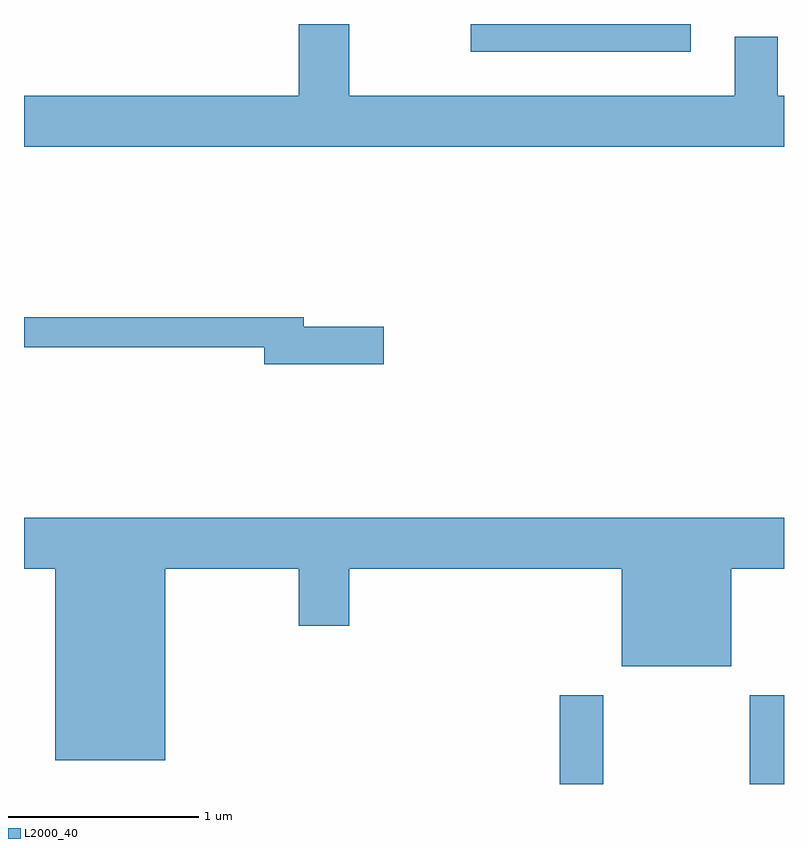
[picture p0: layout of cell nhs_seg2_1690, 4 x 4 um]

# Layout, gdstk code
import gdstk
lib = gdstk.Library(unit=1e-6, precision=1e-09)
def R(c, l, rs):  # rectangles x0, y0, x1, y1
    for r in rs: c.add(gdstk.rectangle(r[:2], r[2:], *l))
def P(c, l, *ps):  # polygons
    for p in ps: c.add(gdstk.Polygon(p, *l))
L2000_40 = (2000, 40)

nhs_seg2_1690 = lib.new_cell('nhs_seg2_1690')
R(nhs_seg2_1690, L2000_40, [(236.431,1093.802,236.659,1094.269), (237.431,1093.802,237.611,1094.269), (235.963,1097.656,237.119,1097.802)])
P(nhs_seg2_1690, L2000_40, [(237.611,1097.424),(237.579,1097.424),(237.579,1097.734),(237.351,1097.734),(237.351,1097.424),(235.324,1097.424),(235.324,1097.802),(235.056,1097.802),(235.056,1097.424),(233.611,1097.424),(233.611,1097.156),(237.611,1097.156)],
  [(235.504,1096.209),(235.084,1096.209),(235.084,1096.259),(233.611,1096.259),(233.611,1096.101),(234.876,1096.101),(234.876,1096.011),(235.504,1096.011)],
  [(234.354,1094.936),(235.056,1094.936),(235.056,1094.636),(235.324,1094.636),(235.324,1094.936),(236.756,1094.936),(236.756,1094.421),(237.334,1094.421),(237.334,1094.936),(237.611,1094.936),(237.611,1095.204),(233.611,1095.204),(233.611,1094.936),(233.776,1094.936),(233.776,1093.926),(234.354,1093.926)])

lib.write_gds('nhs_seg2_1690.gds')
